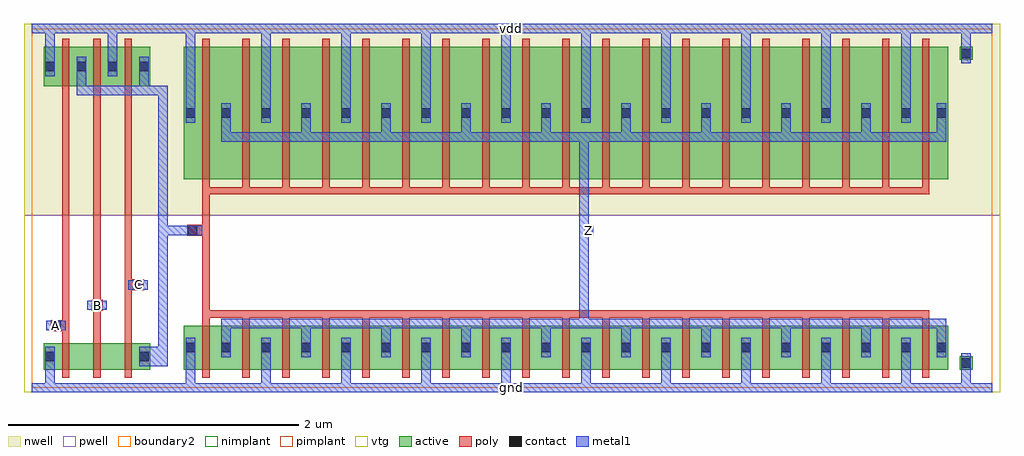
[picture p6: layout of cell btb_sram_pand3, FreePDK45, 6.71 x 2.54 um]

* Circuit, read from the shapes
.subckt btb_sram_pand3 A B C Z gnd vdd
M1 btb_sram_pnand3_0_0/btb_sram_nmos_m1_w0_180_sm1_dactive_3/D A gnd gnd nfet w=0.18u l=0.05u
M2 btb_sram_pnand3_0_0/btb_sram_nmos_m1_w0_180_sactive_dactive_4/D B btb_sram_pnand3_0_0/btb_sram_nmos_m1_w0_180_sm1_dactive_3/D gnd nfet w=0.18u l=0.05u
M3 btb_sram_pdriver_2_1/A C btb_sram_pnand3_0_0/btb_sram_nmos_m1_w0_180_sactive_dactive_4/D gnd nfet w=0.18u l=0.05u
M4 Z btb_sram_pdriver_2_1/A gnd gnd nfet w=0.3025u l=0.05u m=19
M5 btb_sram_pdriver_2_1/A A vdd vdd pfet w=0.27u l=0.05u
M6 vdd B btb_sram_pdriver_2_1/A vdd pfet w=0.27u l=0.05u
M7 btb_sram_pdriver_2_1/A C vdd vdd pfet w=0.27u l=0.05u
M8 Z btb_sram_pdriver_2_1/A vdd vdd pfet w=0.91u l=0.05u m=19
.ends

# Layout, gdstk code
import gdstk
lib = gdstk.Library(unit=1e-6, precision=5e-10)
def R(c, l, rs):  # rectangles x0, y0, x1, y1
    for r in rs: c.add(gdstk.rectangle(r[:2], r[2:], *l))
def A(c, l, x, y, w, h, nx, ny, dx, dy):  # array of equal rectangles
    R(c, l, [(x+i*dx, y+j*dy, x+i*dx+w, y+j*dy+h) for i in range(nx) for j in range(ny)])
active = (1, 0)
pwell = (2, 0)
nwell = (3, 0)
nimplant = (4, 0)
pimplant = (5, 0)
vtg = (6, 0)
poly = (9, 0)
contact = (10, 0)
metal1 = (11, 0)
boundary2 = (239, 0)

btb_sram_contact_11 = lib.new_cell('btb_sram_contact_11')
R(btb_sram_contact_11, active, [(0,0.0225,0.09,0.1125)])
R(btb_sram_contact_11, nwell, [(-0.055,-0.0325,0.145,0.1675)])
R(btb_sram_contact_11, pimplant, [(0,0.0225,0.09,0.1125)])
R(btb_sram_contact_11, contact, [(0.0125,0.035,0.0775,0.1)])
R(btb_sram_contact_11, metal1, [(0.0125,0,0.0775,0.135)])
R(btb_sram_contact_11, boundary2, [(-0.055,-0.0325,0.145,0.1675)])

btb_sram_pmos_m1_w0_270_ = lib.new_cell('btb_sram_pmos_m1_w0_270_sm1_dm1')
R(btb_sram_pmos_m1_w0_270_, active, [(0,0,0.305,0.27)])
R(btb_sram_pmos_m1_w0_270_, nwell, [(-0.08,-0.08,0.385,0.35)])
R(btb_sram_pmos_m1_w0_270_, pimplant, [(0,0,0.305,0.27)])
R(btb_sram_pmos_m1_w0_270_, vtg, [(-0.08,-0.08,0.385,0.35)])
R(btb_sram_pmos_m1_w0_270_, poly, [(0.1275,-0.055,0.1775,0.325), (0.1275,-0.055,0.1775,0.325)])
R(btb_sram_pmos_m1_w0_270_, metal1, [(0.0125,0.0675,0.0775,0.2025), (0.2275,0.0675,0.2925,0.2025)])
R(btb_sram_pmos_m1_w0_270_, boundary2, [(-0.08,-0.08,0.385,0.35)])
btb_sram_pmos_m1_w0_270_.add(gdstk.Reference(btb_sram_contact_11, (0,0.0675)))
btb_sram_pmos_m1_w0_270_.add(gdstk.Reference(btb_sram_contact_11, (0.215,0.0675)))
btb_sram_pmos_m1_w0_270_.add(gdstk.Label('G', (0.1525,0.135), layer=9, texttype=0))
btb_sram_pmos_m1_w0_270_.add(gdstk.Label('S', (0.045,0.135), layer=11, texttype=0))
btb_sram_pmos_m1_w0_270_.add(gdstk.Label('D', (0.26,0.135), layer=11, texttype=0))

btb_sram_contact_10 = lib.new_cell('btb_sram_contact_10')
R(btb_sram_contact_10, active, [(0,0.0225,0.09,0.1125)])
R(btb_sram_contact_10, pwell, [(-0.055,-0.0325,0.145,0.1675)])
R(btb_sram_contact_10, nimplant, [(0,0.0225,0.09,0.1125)])
R(btb_sram_contact_10, contact, [(0.0125,0.035,0.0775,0.1)])
R(btb_sram_contact_10, metal1, [(0.0125,0,0.0775,0.135)])
R(btb_sram_contact_10, boundary2, [(-0.055,-0.0325,0.145,0.1675)])

btb_sram_nmos_m1_w0_180_ = lib.new_cell('btb_sram_nmos_m1_w0_180_sm1_dactive')
R(btb_sram_nmos_m1_w0_180_, active, [(0,0,0.305,0.18), (0.215,0.045,0.305,0.135)])
R(btb_sram_nmos_m1_w0_180_, pwell, [(-0.08,-0.08,0.385,0.26)])
R(btb_sram_nmos_m1_w0_180_, nimplant, [(0,0,0.305,0.18)])
R(btb_sram_nmos_m1_w0_180_, vtg, [(-0.08,-0.08,0.385,0.26)])
R(btb_sram_nmos_m1_w0_180_, poly, [(0.1275,-0.055,0.1775,0.235), (0.1275,-0.055,0.1775,0.235)])
R(btb_sram_nmos_m1_w0_180_, metal1, [(0.0125,0.0225,0.0775,0.1575)])
R(btb_sram_nmos_m1_w0_180_, boundary2, [(-0.08,-0.08,0.385,0.26)])
btb_sram_nmos_m1_w0_180_.add(gdstk.Reference(btb_sram_contact_10, (0,0.0225)))
btb_sram_nmos_m1_w0_180_.add(gdstk.Label('G', (0.1525,0.09), layer=9, texttype=0))
btb_sram_nmos_m1_w0_180_.add(gdstk.Label('S', (0.045,0.09), layer=11, texttype=0))
btb_sram_nmos_m1_w0_180_.add(gdstk.Label('D', (0.26,0.09), layer=1, texttype=0))

c_btb_sram_nmos_m1_w0_180_ = lib.new_cell('btb_sram_nmos_m1_w0_180_sactive_dactive')
R(c_btb_sram_nmos_m1_w0_180_, active, [(0,0,0.305,0.18), (0,0.045,0.09,0.135), (0.215,0.045,0.305,0.135)])
R(c_btb_sram_nmos_m1_w0_180_, pwell, [(-0.08,-0.08,0.385,0.26)])
R(c_btb_sram_nmos_m1_w0_180_, nimplant, [(0,0,0.305,0.18)])
R(c_btb_sram_nmos_m1_w0_180_, vtg, [(-0.08,-0.08,0.385,0.26)])
R(c_btb_sram_nmos_m1_w0_180_, poly, [(0.1275,-0.055,0.1775,0.235), (0.1275,-0.055,0.1775,0.235)])
R(c_btb_sram_nmos_m1_w0_180_, boundary2, [(-0.08,-0.08,0.385,0.26)])
c_btb_sram_nmos_m1_w0_180_.add(gdstk.Label('G', (0.1525,0.09), layer=9, texttype=0))
c_btb_sram_nmos_m1_w0_180_.add(gdstk.Label('S', (0.045,0.09), layer=1, texttype=0))
c_btb_sram_nmos_m1_w0_180_.add(gdstk.Label('D', (0.26,0.09), layer=1, texttype=0))

c_btb_sram_nmos_m1_w0_180__ = lib.new_cell('btb_sram_nmos_m1_w0_180_sactive_dm1')
R(c_btb_sram_nmos_m1_w0_180__, active, [(0,0,0.305,0.18), (0,0.045,0.09,0.135)])
R(c_btb_sram_nmos_m1_w0_180__, pwell, [(-0.08,-0.08,0.385,0.26)])
R(c_btb_sram_nmos_m1_w0_180__, nimplant, [(0,0,0.305,0.18)])
R(c_btb_sram_nmos_m1_w0_180__, vtg, [(-0.08,-0.08,0.385,0.26)])
R(c_btb_sram_nmos_m1_w0_180__, poly, [(0.1275,-0.055,0.1775,0.235), (0.1275,-0.055,0.1775,0.235)])
R(c_btb_sram_nmos_m1_w0_180__, metal1, [(0.2275,0.0225,0.2925,0.1575)])
R(c_btb_sram_nmos_m1_w0_180__, boundary2, [(-0.08,-0.08,0.385,0.26)])
c_btb_sram_nmos_m1_w0_180__.add(gdstk.Reference(btb_sram_contact_10, (0.215,0.0225)))
c_btb_sram_nmos_m1_w0_180__.add(gdstk.Label('G', (0.1525,0.09), layer=9, texttype=0))
c_btb_sram_nmos_m1_w0_180__.add(gdstk.Label('S', (0.045,0.09), layer=1, texttype=0))
c_btb_sram_nmos_m1_w0_180__.add(gdstk.Label('D', (0.26,0.09), layer=11, texttype=0))

btb_sram_contact_14 = lib.new_cell('btb_sram_contact_14')
R(btb_sram_contact_14, poly, [(0.03,0,0.105,0.075)])
R(btb_sram_contact_14, contact, [(0.035,0.005,0.1,0.07)])
R(btb_sram_contact_14, metal1, [(0,0.005,0.135,0.07)])
R(btb_sram_contact_14, boundary2, [(0,0,0.135,0.075)])

btb_sram_pnand3_0 = lib.new_cell('btb_sram_pnand3_0')
R(btb_sram_pnand3_0, pwell, [(-0.055,-0.0325,1.02,1.185)])
R(btb_sram_pnand3_0, nwell, [(-0.055,1.185,1.02,2.505)])
R(btb_sram_pnand3_0, vtg, [(-0.055,-0.0325,1.02,1.185), (-0.055,1.185,1.02,2.505)])
A(btb_sram_pnand3_0, poly, 0.2075, 0.36, 0.05, 1.66, 3, 1, 0.215, 0)
R(btb_sram_pnand3_0, poly, [(0.165,0.39,0.2075,0.465), (0.4225,0.53,0.4475,0.605), (0.6375,0.67,0.73,0.745)])
R(btb_sram_pnand3_0, metal1, [(0,-0.0325,0.965,0.0325), (0.0925,-0.0325,0.1575,0.1475), (0.77,0.1475,0.9,0.2825), (0.8675,0.1475,0.9325,2.045), (0.0975,0.395,0.2325,0.46), (0.38,0.535,0.515,0.6), (0.6625,0.675,0.7975,0.74), (0.3075,2.0125,0.3725,2.0775), (0.34,2.0125,0.9,2.0775), (0.7375,2.0125,0.8025,2.0775), (0.77,2.0125,0.9,2.0775), (0.8675,2.0125,0.9325,2.0775), (0.3075,2.045,0.3725,2.21), (0.7375,2.045,0.8025,2.21), (0.0925,2.1425,0.1575,2.5025), (0.5225,2.1425,0.5875,2.5025), (0,2.4375,0.965,2.5025)])
R(btb_sram_pnand3_0, boundary2, [(0,0,0.965,2.47), (0,0,0.965,2.47)])
btb_sram_pnand3_0.add(gdstk.Reference(btb_sram_pmos_m1_w0_270_, (0.08,2.075)))
btb_sram_pnand3_0.add(gdstk.Reference(btb_sram_pmos_m1_w0_270_, (0.295,2.075)))
btb_sram_pnand3_0.add(gdstk.Reference(btb_sram_pmos_m1_w0_270_, (0.51,2.075)))
btb_sram_pnand3_0.add(gdstk.Reference(btb_sram_nmos_m1_w0_180_, (0.08,0.125)))
btb_sram_pnand3_0.add(gdstk.Reference(c_btb_sram_nmos_m1_w0_180_, (0.295,0.125)))
btb_sram_pnand3_0.add(gdstk.Reference(c_btb_sram_nmos_m1_w0_180__, (0.51,0.125)))
btb_sram_pnand3_0.add(gdstk.Reference(btb_sram_contact_14, (0.0975,0.39)))
btb_sram_pnand3_0.add(gdstk.Reference(btb_sram_contact_14, (0.38,0.53)))
btb_sram_pnand3_0.add(gdstk.Reference(btb_sram_contact_14, (0.6625,0.67)))
btb_sram_pnand3_0.add(gdstk.Label('A', (0.165,0.4275), layer=11, texttype=0))
btb_sram_pnand3_0.add(gdstk.Label('B', (0.4475,0.5675), layer=11, texttype=0))
btb_sram_pnand3_0.add(gdstk.Label('C', (0.73,0.7075), layer=11, texttype=0))
btb_sram_pnand3_0.add(gdstk.Label('Z', (0.9,2.045), layer=11, texttype=0))
btb_sram_pnand3_0.add(gdstk.Label('gnd', (0.4825,0), layer=11, texttype=0))
btb_sram_pnand3_0.add(gdstk.Label('vdd', (0.4825,2.47), layer=11, texttype=0))

btb_sram_pmos_m19_w0_910 = lib.new_cell('btb_sram_pmos_m19_w0_910_sm1_dm1_da_p')
R(btb_sram_pmos_m19_w0_910, active, [(0,0,5.255,0.91)])
R(btb_sram_pmos_m19_w0_910, nwell, [(-0.08,-0.08,5.335,0.99)])
R(btb_sram_pmos_m19_w0_910, pimplant, [(0,0,5.255,0.91)])
R(btb_sram_pmos_m19_w0_910, vtg, [(-0.08,-0.08,5.335,0.99)])
A(btb_sram_pmos_m19_w0_910, poly, 0.1275, -0.055, 0.05, 1.02, 19, 1, 0.275, 0)
R(btb_sram_pmos_m19_w0_910, poly, [(0.1275,-0.105,5.1275,-0.055)])
A(btb_sram_pmos_m19_w0_910, metal1, 0.2575, 0.29, 0.065, 0.165, 9, 1, 0.55, 0)
A(btb_sram_pmos_m19_w0_910, metal1, 0.5325, 0.3875, 0.065, 0.135, 9, 1, 0.55, 0)
R(btb_sram_pmos_m19_w0_910, metal1, [(0.2575,0.2575,5.2425,0.3225), (5.1775,0.29,5.2425,0.455), (0.0125,0.3875,0.0775,0.5225)])
R(btb_sram_pmos_m19_w0_910, boundary2, [(-0.08,-0.105,5.335,0.99)])
btb_sram_pmos_m19_w0_910.add(gdstk.Reference(btb_sram_contact_11, (0,0.3875)))
btb_sram_pmos_m19_w0_910.add(gdstk.Reference(btb_sram_contact_11, (0.245,0.3875)))
btb_sram_pmos_m19_w0_910.add(gdstk.Reference(btb_sram_contact_11, (0.52,0.3875)))
btb_sram_pmos_m19_w0_910.add(gdstk.Reference(btb_sram_contact_11, (0.795,0.3875)))
btb_sram_pmos_m19_w0_910.add(gdstk.Reference(btb_sram_contact_11, (1.07,0.3875)))
btb_sram_pmos_m19_w0_910.add(gdstk.Reference(btb_sram_contact_11, (1.345,0.3875)))
btb_sram_pmos_m19_w0_910.add(gdstk.Reference(btb_sram_contact_11, (1.62,0.3875)))
btb_sram_pmos_m19_w0_910.add(gdstk.Reference(btb_sram_contact_11, (1.895,0.3875)))
btb_sram_pmos_m19_w0_910.add(gdstk.Reference(btb_sram_contact_11, (2.17,0.3875)))
btb_sram_pmos_m19_w0_910.add(gdstk.Reference(btb_sram_contact_11, (2.445,0.3875)))
btb_sram_pmos_m19_w0_910.add(gdstk.Reference(btb_sram_contact_11, (2.72,0.3875)))
btb_sram_pmos_m19_w0_910.add(gdstk.Reference(btb_sram_contact_11, (2.995,0.3875)))
btb_sram_pmos_m19_w0_910.add(gdstk.Reference(btb_sram_contact_11, (3.27,0.3875)))
btb_sram_pmos_m19_w0_910.add(gdstk.Reference(btb_sram_contact_11, (3.545,0.3875)))
btb_sram_pmos_m19_w0_910.add(gdstk.Reference(btb_sram_contact_11, (3.82,0.3875)))
btb_sram_pmos_m19_w0_910.add(gdstk.Reference(btb_sram_contact_11, (4.095,0.3875)))
btb_sram_pmos_m19_w0_910.add(gdstk.Reference(btb_sram_contact_11, (4.37,0.3875)))
btb_sram_pmos_m19_w0_910.add(gdstk.Reference(btb_sram_contact_11, (4.645,0.3875)))
btb_sram_pmos_m19_w0_910.add(gdstk.Reference(btb_sram_contact_11, (4.92,0.3875)))
btb_sram_pmos_m19_w0_910.add(gdstk.Reference(btb_sram_contact_11, (5.165,0.3875)))
btb_sram_pmos_m19_w0_910.add(gdstk.Label('G', (2.6275,-0.08), layer=9, texttype=0))
btb_sram_pmos_m19_w0_910.add(gdstk.Label('S', (1.115,0.455), layer=11, texttype=0))
btb_sram_pmos_m19_w0_910.add(gdstk.Label('S', (1.665,0.455), layer=11, texttype=0))
btb_sram_pmos_m19_w0_910.add(gdstk.Label('S', (2.765,0.455), layer=11, texttype=0))
btb_sram_pmos_m19_w0_910.add(gdstk.Label('S', (4.965,0.455), layer=11, texttype=0))
btb_sram_pmos_m19_w0_910.add(gdstk.Label('S', (2.215,0.455), layer=11, texttype=0))
btb_sram_pmos_m19_w0_910.add(gdstk.Label('S', (4.415,0.455), layer=11, texttype=0))
btb_sram_pmos_m19_w0_910.add(gdstk.Label('S', (3.315,0.455), layer=11, texttype=0))
btb_sram_pmos_m19_w0_910.add(gdstk.Label('S', (0.045,0.455), layer=11, texttype=0))
btb_sram_pmos_m19_w0_910.add(gdstk.Label('S', (0.565,0.455), layer=11, texttype=0))
btb_sram_pmos_m19_w0_910.add(gdstk.Label('S', (3.865,0.455), layer=11, texttype=0))
btb_sram_pmos_m19_w0_910.add(gdstk.Label('D', (2.75,0.29), layer=11, texttype=0))

btb_sram_nmos_m19_w0_302 = lib.new_cell('btb_sram_nmos_m19_w0_302_sm1_dm1_da_p')
R(btb_sram_nmos_m19_w0_302, active, [(0,0,5.255,0.3025)])
R(btb_sram_nmos_m19_w0_302, pwell, [(-0.08,-0.08,5.335,0.3825)])
R(btb_sram_nmos_m19_w0_302, nimplant, [(0,0,5.255,0.3025)])
R(btb_sram_nmos_m19_w0_302, vtg, [(-0.08,-0.08,5.335,0.3825)])
A(btb_sram_nmos_m19_w0_302, poly, 0.1275, -0.055, 0.05, 0.4125, 19, 1, 0.275, 0)
R(btb_sram_nmos_m19_w0_302, poly, [(0.1275,0.3575,5.1275,0.4075)])
A(btb_sram_nmos_m19_w0_302, metal1, 0.5325, 0.085, 0.065, 0.135, 9, 1, 0.55, 0)
A(btb_sram_nmos_m19_w0_302, metal1, 0.2575, 0.15, 0.065, 0.165, 9, 1, 0.55, 0)
R(btb_sram_nmos_m19_w0_302, metal1, [(0.0125,0.085,0.0775,0.22), (5.1775,0.15,5.2425,0.315), (0.2575,0.285,5.2425,0.35)])
R(btb_sram_nmos_m19_w0_302, boundary2, [(-0.08,-0.08,5.335,0.4075)])
btb_sram_nmos_m19_w0_302.add(gdstk.Reference(btb_sram_contact_10, (0,0.085)))
btb_sram_nmos_m19_w0_302.add(gdstk.Reference(btb_sram_contact_10, (0.245,0.085)))
btb_sram_nmos_m19_w0_302.add(gdstk.Reference(btb_sram_contact_10, (0.52,0.085)))
btb_sram_nmos_m19_w0_302.add(gdstk.Reference(btb_sram_contact_10, (0.795,0.085)))
btb_sram_nmos_m19_w0_302.add(gdstk.Reference(btb_sram_contact_10, (1.07,0.085)))
btb_sram_nmos_m19_w0_302.add(gdstk.Reference(btb_sram_contact_10, (1.345,0.085)))
btb_sram_nmos_m19_w0_302.add(gdstk.Reference(btb_sram_contact_10, (1.62,0.085)))
btb_sram_nmos_m19_w0_302.add(gdstk.Reference(btb_sram_contact_10, (1.895,0.085)))
btb_sram_nmos_m19_w0_302.add(gdstk.Reference(btb_sram_contact_10, (2.17,0.085)))
btb_sram_nmos_m19_w0_302.add(gdstk.Reference(btb_sram_contact_10, (2.445,0.085)))
btb_sram_nmos_m19_w0_302.add(gdstk.Reference(btb_sram_contact_10, (2.72,0.085)))
btb_sram_nmos_m19_w0_302.add(gdstk.Reference(btb_sram_contact_10, (2.995,0.085)))
btb_sram_nmos_m19_w0_302.add(gdstk.Reference(btb_sram_contact_10, (3.27,0.085)))
btb_sram_nmos_m19_w0_302.add(gdstk.Reference(btb_sram_contact_10, (3.545,0.085)))
btb_sram_nmos_m19_w0_302.add(gdstk.Reference(btb_sram_contact_10, (3.82,0.085)))
btb_sram_nmos_m19_w0_302.add(gdstk.Reference(btb_sram_contact_10, (4.095,0.085)))
btb_sram_nmos_m19_w0_302.add(gdstk.Reference(btb_sram_contact_10, (4.37,0.085)))
btb_sram_nmos_m19_w0_302.add(gdstk.Reference(btb_sram_contact_10, (4.645,0.085)))
btb_sram_nmos_m19_w0_302.add(gdstk.Reference(btb_sram_contact_10, (4.92,0.085)))
btb_sram_nmos_m19_w0_302.add(gdstk.Reference(btb_sram_contact_10, (5.165,0.085)))
btb_sram_nmos_m19_w0_302.add(gdstk.Label('G', (2.6275,0.3825), layer=9, texttype=0))
btb_sram_nmos_m19_w0_302.add(gdstk.Label('S', (3.865,0.1525), layer=11, texttype=0))
btb_sram_nmos_m19_w0_302.add(gdstk.Label('S', (1.665,0.1525), layer=11, texttype=0))
btb_sram_nmos_m19_w0_302.add(gdstk.Label('S', (4.965,0.1525), layer=11, texttype=0))
btb_sram_nmos_m19_w0_302.add(gdstk.Label('S', (0.045,0.1525), layer=11, texttype=0))
btb_sram_nmos_m19_w0_302.add(gdstk.Label('S', (2.765,0.1525), layer=11, texttype=0))
btb_sram_nmos_m19_w0_302.add(gdstk.Label('S', (0.565,0.1525), layer=11, texttype=0))
btb_sram_nmos_m19_w0_302.add(gdstk.Label('S', (1.115,0.1525), layer=11, texttype=0))
btb_sram_nmos_m19_w0_302.add(gdstk.Label('S', (2.215,0.1525), layer=11, texttype=0))
btb_sram_nmos_m19_w0_302.add(gdstk.Label('S', (4.415,0.1525), layer=11, texttype=0))
btb_sram_nmos_m19_w0_302.add(gdstk.Label('S', (3.315,0.1525), layer=11, texttype=0))
btb_sram_nmos_m19_w0_302.add(gdstk.Label('D', (2.75,0.3175), layer=11, texttype=0))

btb_sram_contact_12 = lib.new_cell('btb_sram_contact_12')
R(btb_sram_contact_12, active, [(0,0.0225,0.09,0.1125)])
R(btb_sram_contact_12, nwell, [(-0.055,-0.0325,0.145,0.1675)])
R(btb_sram_contact_12, nimplant, [(0,0.0225,0.09,0.1125)])
R(btb_sram_contact_12, contact, [(0.0125,0.035,0.0775,0.1)])
R(btb_sram_contact_12, metal1, [(0.0125,0,0.0775,0.135)])
R(btb_sram_contact_12, boundary2, [(-0.055,-0.0325,0.145,0.1675)])

btb_sram_contact_13 = lib.new_cell('btb_sram_contact_13')
R(btb_sram_contact_13, active, [(0,0.0225,0.09,0.1125)])
R(btb_sram_contact_13, pwell, [(-0.055,-0.0325,0.145,0.1675)])
R(btb_sram_contact_13, pimplant, [(0,0.0225,0.09,0.1125)])
R(btb_sram_contact_13, contact, [(0.0125,0.035,0.0775,0.1)])
R(btb_sram_contact_13, metal1, [(0.0125,0,0.0775,0.135)])
R(btb_sram_contact_13, boundary2, [(-0.055,-0.0325,0.145,0.1675)])

btb_sram_pinv_11 = lib.new_cell('btb_sram_pinv_11')
R(btb_sram_pinv_11, pwell, [(-0.055,-0.0325,5.6925,1.185)])
R(btb_sram_pinv_11, nwell, [(-0.055,1.185,5.6925,2.505)])
R(btb_sram_pinv_11, vtg, [(-0.055,-0.0325,5.6925,1.185), (-0.055,1.185,5.6925,2.505)])
R(btb_sram_pinv_11, poly, [(0.2075,0.5325,0.2575,1.33), (0.14,1.045,0.2075,1.12)])
A(btb_sram_pinv_11, metal1, 0.6125, -0.0325, 0.065, 0.2425, 9, 1, 0.55, 0)
A(btb_sram_pinv_11, metal1, 0.6125, 1.8225, 0.065, 0.68, 9, 1, 0.55, 0)
R(btb_sram_pinv_11, metal1, [(0,-0.0325,5.6375,0.0325), (0.0925,-0.0325,0.1575,0.21), (5.4275,0,5.4925,0.17), (2.7975,0.41,2.8625,1.7575), (0.0725,1.05,0.2075,1.115), (2.83,1.05,2.895,1.115), (0.0925,1.8225,0.1575,2.5025), (5.4275,2.3,5.4925,2.47), (0,2.4375,5.6375,2.5025)])
R(btb_sram_pinv_11, boundary2, [(0,0,5.6375,2.47), (0,0,5.6375,2.47)])
btb_sram_pinv_11.add(gdstk.Reference(btb_sram_pmos_m19_w0_910, (0.08,1.435)))
btb_sram_pinv_11.add(gdstk.Reference(btb_sram_nmos_m19_w0_302, (0.08,0.125)))
btb_sram_pinv_11.add(gdstk.Reference(btb_sram_contact_12, (5.415,2.2325)))
btb_sram_pinv_11.add(gdstk.Reference(btb_sram_contact_13, (5.415,0.1025)))
btb_sram_pinv_11.add(gdstk.Reference(btb_sram_contact_14, (0.0725,1.045)))
btb_sram_pinv_11.add(gdstk.Label('A', (0.14,1.0825), layer=11, texttype=0))
btb_sram_pinv_11.add(gdstk.Label('Z', (2.8625,1.0825), layer=11, texttype=0))
btb_sram_pinv_11.add(gdstk.Label('gnd', (2.819,0), layer=11, texttype=0))
btb_sram_pinv_11.add(gdstk.Label('vdd', (2.819,2.47), layer=11, texttype=0))

btb_sram_pdriver_2 = lib.new_cell('btb_sram_pdriver_2')
R(btb_sram_pdriver_2, pwell, [(-0.055,-0.0325,5.6925,1.185)])
R(btb_sram_pdriver_2, nwell, [(-0.055,1.185,5.6925,2.505)])
R(btb_sram_pdriver_2, vtg, [(-0.055,-0.0325,5.6925,1.185), (-0.055,1.185,5.6925,2.505)])
R(btb_sram_pdriver_2, metal1, [(0,-0.0325,5.6375,0.0325), (0.0725,1.05,0.2075,1.115), (2.83,1.05,2.895,1.115), (0,2.4375,5.6375,2.5025)])
R(btb_sram_pdriver_2, boundary2, [(0,0,5.6375,2.47), (0,0,5.6375,2.47)])
btb_sram_pdriver_2.add(gdstk.Reference(btb_sram_pinv_11, (0,0)))
btb_sram_pdriver_2.add(gdstk.Label('Z', (2.8625,1.0825), layer=11, texttype=0))
btb_sram_pdriver_2.add(gdstk.Label('A', (0.14,1.0825), layer=11, texttype=0))
btb_sram_pdriver_2.add(gdstk.Label('gnd', (2.819,0), layer=11, texttype=0))
btb_sram_pdriver_2.add(gdstk.Label('vdd', (2.819,2.47), layer=11, texttype=0))

btb_sram_pand3 = lib.new_cell('btb_sram_pand3')
R(btb_sram_pand3, metal1, [(0,-0.0325,6.6025,0.0325), (0.0975,0.395,0.2325,0.46), (0.38,0.535,0.515,0.6), (0.6625,0.675,0.7975,0.74), (0.8675,1.05,0.9325,1.115), (0.9,1.05,1.105,1.115), (3.795,1.05,3.86,1.115), (0.8675,1.0825,0.9325,2.045), (0,2.4375,6.6025,2.5025)])
R(btb_sram_pand3, boundary2, [(0,0,6.6025,2.47), (0,0,6.6025,2.47)])
btb_sram_pand3.add(gdstk.Reference(btb_sram_pnand3_0, (0,0)))
btb_sram_pand3.add(gdstk.Reference(btb_sram_pdriver_2, (0.965,0)))
btb_sram_pand3.add(gdstk.Label('Z', (3.8275,1.0825), layer=11, texttype=0))
btb_sram_pand3.add(gdstk.Label('A', (0.165,0.4275), layer=11, texttype=0))
btb_sram_pand3.add(gdstk.Label('B', (0.4475,0.5675), layer=11, texttype=0))
btb_sram_pand3.add(gdstk.Label('C', (0.73,0.7075), layer=11, texttype=0))
btb_sram_pand3.add(gdstk.Label('gnd', (3.301,0), layer=11, texttype=0))
btb_sram_pand3.add(gdstk.Label('vdd', (3.301,2.47), layer=11, texttype=0))

lib.write_gds('btb_sram_pand3.gds')
